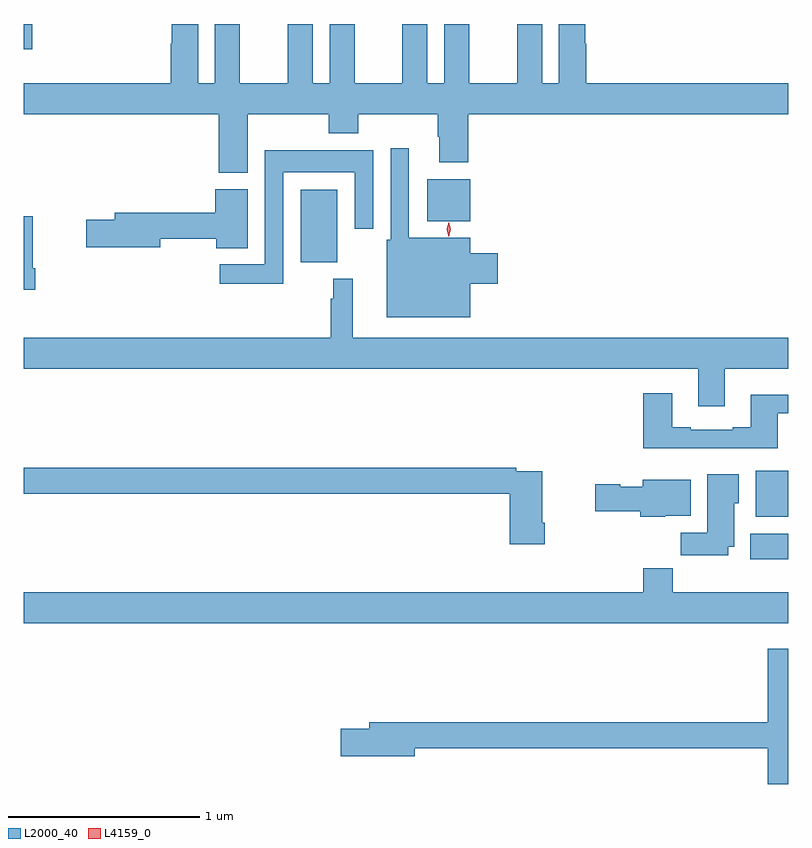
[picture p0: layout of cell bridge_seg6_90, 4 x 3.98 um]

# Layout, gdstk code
import gdstk
lib = gdstk.Library(unit=1e-6, precision=1e-09)
def R(c, l, rs):  # rectangles x0, y0, x1, y1
    for r in rs: c.add(gdstk.rectangle(r[:2], r[2:], *l))
def P(c, l, *ps):  # polygons
    for p in ps: c.add(gdstk.Polygon(p, *l))
L2000_40 = (2000, 40)
L4159_0 = (4159, 0)

bridge_seg6_90 = lib.new_cell('bridge_seg6_90')
R(bridge_seg6_90, L2000_40, [(689.846,992.96,690.044,993.094), (689.873,993.182,690.044,993.424), (687.494,994.514,687.685,994.894), (688.154,994.73,688.381,994.948), (686.044,995.628,686.087,995.761)])
P(bridge_seg6_90, L2000_40, [(687.217,995.288),(687.64,995.288),(687.64,995.189),(687.795,995.189),(687.795,995.288),(688.21,995.288),(688.21,995.171),(688.217,995.171),(688.217,995.037),(688.37,995.037),(688.37,995.288),(690.044,995.288),(690.044,995.452),(688.988,995.452),(688.988,995.657),(688.981,995.657),(688.981,995.761),(688.844,995.761),(688.844,995.452),(688.756,995.452),(688.756,995.761),(688.625,995.761),(688.625,995.452),(688.375,995.452),(688.375,995.761),(688.244,995.761),(688.244,995.452),(688.156,995.452),(688.156,995.761),(688.025,995.761),(688.025,995.452),(687.775,995.452),(687.775,995.761),(687.644,995.761),(687.644,995.452),(687.556,995.452),(687.556,995.761),(687.425,995.761),(687.425,995.452),(687.175,995.452),(687.175,995.761),(687.044,995.761),(687.044,995.452),(686.956,995.452),(686.956,995.761),(686.819,995.761),(686.819,995.657),(686.813,995.657),(686.813,995.452),(686.044,995.452),(686.044,995.288),(687.065,995.288),(687.065,994.982),(687.217,994.982)],
  [(688.381,994.403),(688.525,994.403),(688.525,994.561),(688.381,994.561),(688.381,994.642),(688.059,994.642),(688.059,995.11),(687.963,995.11),(687.963,994.633),(687.944,994.633),(687.944,994.226),(688.381,994.226)],
  [(687.402,994.985),(687.777,994.985),(687.777,994.689),(687.873,994.689),(687.873,995.101),(687.306,995.101),(687.306,994.503),(687.069,994.503),(687.069,994.402),(687.402,994.402)],
  [(687.217,994.897),(687.047,994.897),(687.047,994.772),(686.519,994.772),(686.519,994.736),(686.37,994.736),(686.37,994.594),(686.758,994.594),(686.758,994.636),(687.052,994.636),(687.052,994.588),(687.217,994.588)],
  [(686.105,994.483),(686.092,994.483),(686.092,994.755),(686.044,994.755),(686.044,994.371),(686.105,994.371)],
  [(689.713,993.956),(690.044,993.956),(690.044,994.12),(687.766,994.12),(687.766,994.429),(687.664,994.429),(687.664,994.322),(687.649,994.322),(687.649,994.12),(686.044,994.12),(686.044,993.956),(689.573,993.956),(689.573,993.762),(689.713,993.762)],
  [(689.989,993.723),(690.044,993.723),(690.044,993.82),(689.849,993.82),(689.849,993.652),(689.753,993.652),(689.753,993.639),(689.533,993.639),(689.533,993.652),(689.437,993.652),(689.437,993.829),(689.285,993.829),(689.285,993.542),(689.989,993.542)],
  [(688.769,993.151),(688.756,993.151),(688.756,993.42),(688.622,993.42),(688.622,993.44),(686.044,993.44),(686.044,993.304),(688.586,993.304),(688.586,993.039),(688.769,993.039)],
  [(689.731,993.026),(689.761,993.026),(689.761,993.252),(689.785,993.252),(689.785,993.406),(689.621,993.406),(689.621,993.1),(689.482,993.1),(689.482,992.982),(689.731,992.982)],
  [(689.4,993.188),(689.533,993.188),(689.533,993.376),(689.282,993.376),(689.282,993.34),(689.166,993.34),(689.166,993.353),(689.034,993.353),(689.034,993.211),(689.27,993.211),(689.27,993.182),(689.4,993.182)],
  [(690.044,992.788),(689.441,992.788),(689.441,992.912),(689.285,992.912),(689.285,992.788),(686.044,992.788),(686.044,992.624),(690.044,992.624)],
  [(690.044,992.491),(689.936,992.491),(689.936,992.108),(687.851,992.108),(687.851,992.072),(687.702,992.072),(687.702,991.93),(688.09,991.93),(688.09,991.972),(689.936,991.972),(689.936,991.784),(690.044,991.784)])
P(bridge_seg6_90, L4159_0, [(688.268,994.649),(688.268,994.649),(688.258,994.687),(688.268,994.724),(688.268,994.724),(688.268,994.724),(688.278,994.687),(688.268,994.649)])

lib.write_gds('bridge_seg6_90.gds')
